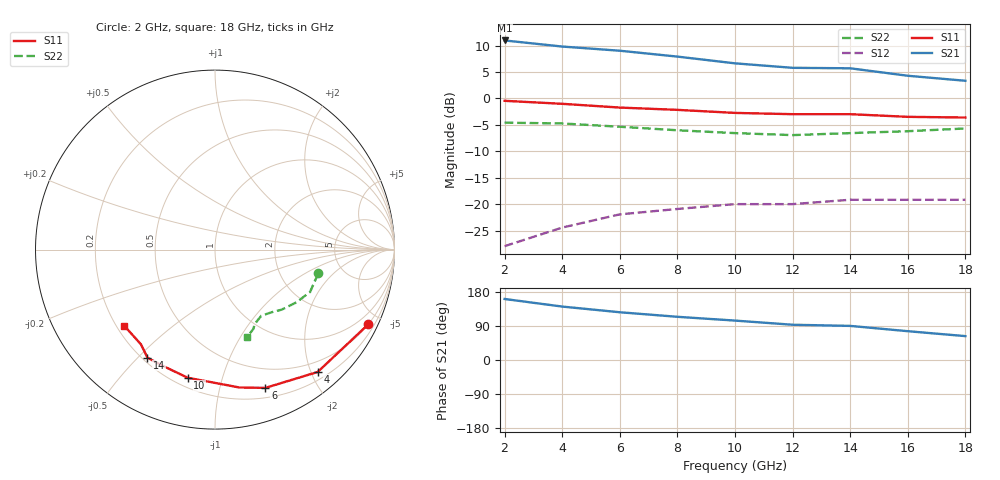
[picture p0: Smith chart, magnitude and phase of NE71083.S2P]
!! NE71083
! IDSS=20 40 120 MA (MIN TYP MAX)
! Vp=-0.5 -1.1 -3.5 V (MIN TYP MAX)
! gm=20 50 100 mS (MIN TYP MAX)
! @ VDS=3V  IDS=10MA
# GHZ S MA R 50
! SCATTERING PARAMETERS:
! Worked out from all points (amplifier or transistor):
!   9 points, 2 GHz to 18 GHz, reference 50 ohm
!   highest |S21| = 11.0 dB at 2 GHz (marker M1)
!   |S21| within 3 dB of that: start of sweep to 7.899 GHz
!   unconditionally stable (mu >= 1): 15.76 GHz to end of sweep
!   at 4 GHz: K = 0.37, MSG = 17.1 dB, |S12| = -24.4 dB
!   at 10 GHz: K = 0.77, MSG = 13.3 dB, |S12| = -20.0 dB
!   at 18 GHz: K = 1.12, MAG = 9.2 dB, |S12| = -19.2 dB
!   lowest NFmin = 0.60 dB at 4 GHz
!   S11 on the Smith chart (normalised r, x): 2 GHz: 0.50, -4.28; 4 GHz: 0.32, -2.10; 6 GHz: 0.29, -1.39; 10 GHz: 0.25, -0.78; 14 GHz: 0.22, -0.53; 18 GHz: 0.23, -0.35
2  0.95 -26.0  3.54 161.0  0.04 79.0  0.59 -13.0
4  0.89 -50.0  3.1 141.0  0.06 66.0  0.58 -24.0
6  0.82 -70.0  2.83 126.0  0.08 56.0  0.54 -33.0
8  0.78 -80.0  2.49 114.0  0.09 51.0  0.5 -42.0
10  0.73 -102.0  2.15 104.0  0.1 48.0  0.47 -48.0
12  0.71 -114.0  1.95 93.0  0.1 43.0  0.45 -55.0
14  0.71 -122.0  1.93 90.0  0.11 44.0  0.47 -62.0
16  0.67 -128.0  1.64 76.0  0.11 43.0  0.49 -64.0
18  0.66 -140.0  1.47 63.0  0.11 40.0  0.52 -70.0
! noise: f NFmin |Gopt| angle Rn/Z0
4  0.6  0.64  69  0.38
8  1  0.55  115  0.2
12  1.6  0.48  155  0.2
18  2.1  0.46  -33  0.4
